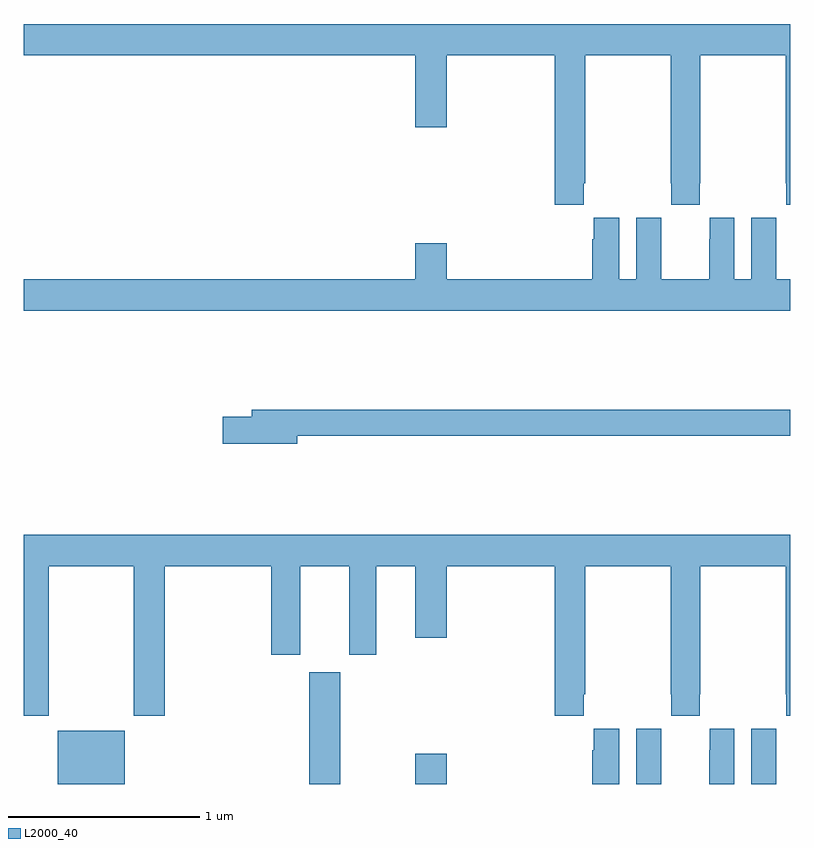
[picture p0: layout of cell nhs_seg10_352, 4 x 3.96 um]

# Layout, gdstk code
import gdstk
lib = gdstk.Library(unit=1e-6, precision=1e-09)
def R(c, l, rs):  # rectangles x0, y0, x1, y1
    for r in rs: c.add(gdstk.rectangle(r[:2], r[2:], *l))
def P(c, l, *ps):  # polygons
    for p in ps: c.add(gdstk.Polygon(p, *l))
L2000_40 = (2000, 40)

nhs_seg10_352 = lib.new_cell('nhs_seg10_352')
R(nhs_seg10_352, L2000_40, [(127.178,1312.5,127.528,1312.777), (128.489,1312.5,128.653,1313.083), (129.044,1312.5,129.208,1312.657)])
P(nhs_seg10_352, L2000_40, [(129.923,1315.633),(129.93,1315.633),(129.93,1316.3),(130.375,1316.3),(130.375,1315.633),(130.377,1315.633),(130.377,1315.521),(130.527,1315.521),(130.527,1315.633),(130.53,1315.633),(130.53,1316.3),(130.975,1316.3),(130.975,1315.633),(130.977,1315.633),(130.977,1315.521),(131,1315.521),(131,1316.464),(127,1316.464),(127,1316.3),(129.044,1316.3),(129.044,1315.926),(129.208,1315.926),(129.208,1316.3),(129.77,1316.3),(129.77,1315.521),(129.923,1315.521)],
  [(131,1315.132),(130.927,1315.132),(130.927,1315.34),(130.926,1315.34),(130.926,1315.453),(130.796,1315.453),(130.796,1315.132),(130.708,1315.132),(130.708,1315.453),(130.578,1315.453),(130.578,1315.34),(130.577,1315.34),(130.577,1315.132),(130.327,1315.132),(130.327,1315.34),(130.326,1315.34),(130.326,1315.453),(130.196,1315.453),(130.196,1315.132),(130.108,1315.132),(130.108,1315.453),(129.974,1315.453),(129.974,1315.34),(129.965,1315.34),(129.965,1315.132),(129.208,1315.132),(129.208,1315.321),(129.044,1315.321),(129.044,1315.132),(127,1315.132),(127,1314.968),(131,1314.968)],
  [(128.428,1314.316),(131,1314.316),(131,1314.452),(128.189,1314.452),(128.189,1314.416),(128.04,1314.416),(128.04,1314.274),(128.428,1314.274)],
  [(127.131,1313.636),(127.576,1313.636),(127.576,1312.857),(127.736,1312.857),(127.736,1313.636),(128.291,1313.636),(128.291,1313.175),(128.443,1313.175),(128.443,1313.636),(128.699,1313.636),(128.699,1313.175),(128.839,1313.175),(128.839,1313.636),(129.044,1313.636),(129.044,1313.262),(129.208,1313.262),(129.208,1313.636),(129.77,1313.636),(129.77,1312.857),(129.923,1312.857),(129.923,1312.969),(129.93,1312.969),(129.93,1313.636),(130.375,1313.636),(130.375,1312.969),(130.377,1312.969),(130.377,1312.857),(130.527,1312.857),(130.527,1312.969),(130.53,1312.969),(130.53,1313.636),(130.975,1313.636),(130.975,1312.969),(130.977,1312.969),(130.977,1312.857),(131,1312.857),(131,1313.8),(127,1313.8),(127,1312.857),(127.131,1312.857)],
  [(130.108,1312.789),(129.974,1312.789),(129.974,1312.676),(129.965,1312.676),(129.965,1312.5),(130.108,1312.5)],
  [(130.327,1312.676),(130.326,1312.676),(130.326,1312.789),(130.196,1312.789),(130.196,1312.5),(130.327,1312.5)],
  [(130.708,1312.789),(130.578,1312.789),(130.578,1312.676),(130.577,1312.676),(130.577,1312.5),(130.708,1312.5)],
  [(130.927,1312.676),(130.926,1312.676),(130.926,1312.789),(130.796,1312.789),(130.796,1312.5),(130.927,1312.5)])

lib.write_gds('nhs_seg10_352.gds')
